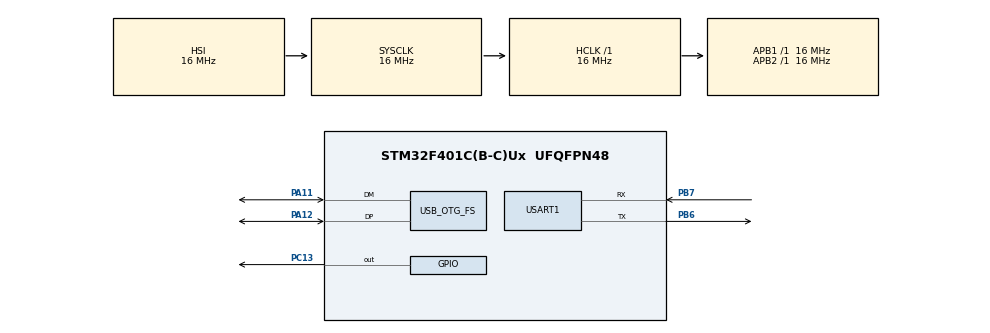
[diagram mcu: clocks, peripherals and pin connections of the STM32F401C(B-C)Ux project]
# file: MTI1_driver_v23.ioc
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Mcu.Family=STM32F4
Mcu.Name=STM32F401C(B-C)Ux
Mcu.Package=UFQFPN48
NVIC.OTG_FS_IRQn=true\:0\:0\:false\:false\:true\:false\:true\:true
NVIC.PriorityGroup=NVIC_PRIORITYGROUP_4
NVIC.USART1_IRQn=true\:0\:0\:false\:false\:true\:true\:true\:true
PA11.Mode=Device_Only
PA11.Signal=USB_OTG_FS_DM
PA12.Mode=Device_Only
PA12.Signal=USB_OTG_FS_DP
PB6.Mode=Asynchronous
PB6.Signal=USART1_TX
PB7.Mode=Asynchronous
PB7.Signal=USART1_RX
PC13-ANTI_TAMP.Signal=GPIO_Output
PH0\ -\ OSC_IN.Mode=HSE-External-Oscillator
PH0\ -\ OSC_IN.Signal=RCC_OSC_IN
PH1\ -\ OSC_OUT.Mode=HSE-External-Oscillator
PH1\ -\ OSC_OUT.Signal=RCC_OSC_OUT
ProjectManager.HeapSize=0x200
ProjectManager.StackSize=0x400
ProjectManager.TargetToolchain=STM32CubeIDE
RCC.48MHZClocksFreq_Value=48000000
RCC.AHBFreq_Value=16000000
RCC.APB1Freq_Value=16000000
RCC.APB2Freq_Value=16000000
RCC.CortexFreq_Value=16000000
RCC.HSE_VALUE=25000000
RCC.HSI_VALUE=16000000
RCC.LSE_VALUE=32768
RCC.PLLM=15
RCC.PLLN=144
RCC.PLLQ=5
RCC.SYSCLKFreq_VALUE=16000000
RCC.VCOOutputFreq_Value=240000000
USART1.VirtualMode=VM_ASYNC
USB_DEVICE.CLASS_NAME_FS=CDC
USB_DEVICE.VirtualMode=Cdc
USB_DEVICE.VirtualModeFS=Cdc_FS
USB_OTG_FS.VirtualMode=Device_Only
VP_USB_DEVICE_VS_USB_DEVICE_CDC_FS.Mode=CDC_FS
board=custom

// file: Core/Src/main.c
/* USER CODE BEGIN Header */
/**
  ******************************************************************************
  * @file           : main.c
  * @brief          : Leitura do MTi-1 (ACC, GYR e Euler Angles)
  * Author          : juandg
  ******************************************************************************
  */
/* USER CODE END Header */

#include "main.h"
#include "usb_device.h"

/* USER CODE BEGIN Includes */
#include "usbd_cdc_if.h"
#include <stdio.h>
#include <string.h>
/* USER CODE END Includes */

/* USER CODE BEGIN PTD */
typedef struct {
    float acc_x, acc_y, acc_z;
    float gyr_x, gyr_y, gyr_z;
    float roll, pitch, yaw;
} MTi1_Data_t;
/* USER CODE END PTD */

UART_HandleTypeDef huart1;

/* USER CODE BEGIN PV */
#define RX_RING_SIZE 2048
volatile uint8_t rx_ring[RX_RING_SIZE];
volatile uint16_t rx_head = 0;
volatile uint16_t rx_tail = 0;
uint8_t rx_byte;

char msg_usb[300];
MTi1_Data_t imu_data;
int test_flag = 0;
uint32_t last_led_tick = 0;
/* USER CODE END PV */

void SystemClock_Config(void);
static void MX_GPIO_Init(void);
static void MX_USART1_UART_Init(void);

/* USER CODE BEGIN PFP */
float bytes_to_float_be(const uint8_t *buffer);
uint8_t xsens_validate_checksum(const uint8_t *msg, uint16_t length);
uint8_t calculate_xbus_checksum(const uint8_t *buffer, uint16_t length);
static void parse_mtdata2(const uint8_t *packet, uint16_t packet_len);
void configure_mti1_outputs(void);
void process_rx_ring(void);
/* USER CODE END PFP */

/* USER CODE BEGIN 0 */

// Converte 4 bytes Big-Endian para float Little-Endian
float bytes_to_float_be(const uint8_t *buffer) {
    uint32_t b = ((uint32_t)buffer[0] << 24) |
                 ((uint32_t)buffer[1] << 16) |
                 ((uint32_t)buffer[2] << 8)  |
                  (uint32_t)buffer[3];
    float f;
    memcpy(&f, &b, sizeof(float));
    return f;
}

// Valida Checksum Xbus
uint8_t xsens_validate_checksum(const uint8_t *msg, uint16_t length) {
    uint8_t sum = 0;
    for (uint16_t i = 1; i < length; i++) {
        sum += msg[i];
    }
    return (sum == 0);
}

uint8_t calculate_xbus_checksum(const uint8_t *buffer, uint16_t length) {
    uint8_t sum = 0;
    for (uint16_t i = 1; i < (length - 1); i++) {
        sum += buffer[i];
    }
    return (uint8_t)(0x100 - sum);
}

static void parse_mtdata2(const uint8_t *packet, uint16_t packet_len) {
    if (packet_len < 5) return;
    if (packet[0] != 0xFA || packet[2] != 0x36) return;

    // ¡NUEVO! Validar el checksum antes de confiar en los datos
    if (!xsens_validate_checksum(packet, packet_len)) {
        return; // Si el checksum falla, descartamos el paquete corrupto inmediatamente
    }

    uint8_t payload_len = packet[3];
    uint16_t idx = 4;

    while (idx < (4 + payload_len) && (idx + 3) <= packet_len) {
        uint16_t xdi = (packet[idx] << 8) | packet[idx + 1];
        uint8_t data_size = packet[idx + 2];
        const uint8_t *data_ptr = &packet[idx + 3];

        if ((idx + 3 + data_size) > packet_len) break;

        if ((xdi & 0xFFF0) == 0x4020) { // ACC
            imu_data.acc_x = bytes_to_float_be(&data_ptr[0]);
            imu_data.acc_y = bytes_to_float_be(&data_ptr[4]);
            imu_data.acc_z = bytes_to_float_be(&data_ptr[8]);
        }
        else if ((xdi & 0xFFF0) == 0x8020) { // GYR
            imu_data.gyr_x = bytes_to_float_be(&data_ptr[0]);
            imu_data.gyr_y = bytes_to_float_be(&data_ptr[4]);
            imu_data.gyr_z = bytes_to_float_be(&data_ptr[8]);
        }
        else if ((xdi & 0xFFF0) == 0x2030) { // EULER
            imu_data.roll  = bytes_to_float_be(&data_ptr[0]);
            imu_data.pitch = bytes_to_float_be(&data_ptr[4]);
            imu_data.yaw   = bytes_to_float_be(&data_ptr[8]);
            //imu_data.test_flag = 1;
        }

        idx += 3 + data_size;
    }
}

// Processa o Ring Buffer identificando início de pacote (0xFA)
void process_rx_ring(void) {
    // Enquanto houver bytes suficientes para formar um pacote mínimo Xbus (5 bytes)
    while (rx_head != rx_tail) {
        // 1. Procura o Preamble 0xFA
        if (rx_ring[rx_tail] != 0xFA) {
            rx_tail = (rx_tail + 1) % RX_RING_SIZE;
            continue;
        }

        // 2. Calcula quantos bytes temos disponíveis no Ring Buffer
        uint16_t available = (rx_head >= rx_tail) ? (rx_head - rx_tail) : (RX_RING_SIZE - rx_tail + rx_head);
        if (available < 5) break; // Espera chegar o cabeçalho completo

        // 3. Lê o tamanho do Payload (byte na posição rx_tail + 3)
        uint16_t len_idx = (rx_tail + 3) % RX_RING_SIZE;
        uint8_t payload_len = rx_ring[len_idx];
        uint16_t total_len = 5 + payload_len; // Preamble(1) + BusID(1) + MID(1) + Len(1) + Payload + CS(1)

        // Se o pacote for maior que o buffer auxiliar, avança 1 byte para não travar
        if (total_len > 256) {
            rx_tail = (rx_tail + 1) % RX_RING_SIZE;
            continue;
        }

        // Aguarda todos os bytes do pacote chegarem
        if (available < total_len) break;

        // 4. Copia o pacote completo para um buffer temporário
        uint8_t packet_buf[256];
        for (uint16_t i = 0; i < total_len; i++) {
            packet_buf[i] = rx_ring[(rx_tail + i) % RX_RING_SIZE];
        }

        // 5. Processa o pacote se for uma mensagem de dados MTData2 (MID = 0x36)
        if (packet_buf[2] == 0x36) {
            parse_mtdata2(packet_buf, total_len);
        }

        // 6. Descarta o pacote processado do Ring Buffer
        rx_tail = (rx_tail + total_len) % RX_RING_SIZE;
    }
}

// Configura saídas do MTi-1
void configure_mti1_outputs(void) {
    uint8_t goto_config[] = {0xFA, 0xFF, 0x30, 0x00, 0x00};
    goto_config[4] = calculate_xbus_checksum(goto_config, sizeof(goto_config));
    HAL_UART_Transmit(&huart1, goto_config, sizeof(goto_config), 200);
    HAL_Delay(100);

    uint8_t set_output_config[] = {
        0xFA, 0xFF, 0xC0, 0x0C,       // Header
        0x40, 0x20, 0x00, 0x64,       // ACC @ 100Hz
        0x80, 0x20, 0x00, 0x64,       // GYR @ 100Hz
        0x20, 0x30, 0x00, 0x64,       // Euler @ 100Hz
        0x00                          // Checksum
    };
    set_output_config[sizeof(set_output_config) - 1] = calculate_xbus_checksum(set_output_config, sizeof(set_output_config));

    HAL_UART_Transmit(&huart1, set_output_config, sizeof(set_output_config), 200);
    HAL_Delay(100);

    uint8_t goto_measurement[] = {0xFA, 0xFF, 0x10, 0x00, 0x00};
    goto_measurement[4] = calculate_xbus_checksum(goto_measurement, sizeof(goto_measurement));
    HAL_UART_Transmit(&huart1, goto_measurement, sizeof(goto_measurement), 200);
    HAL_Delay(100);
}

// Interrupção da UART
void HAL_UART_RxCpltCallback(UART_HandleTypeDef *huart) {
    if (huart->Instance == USART1) {
        uint16_t next = (rx_head + 1) % RX_RING_SIZE;
        if (next != rx_tail) {
            rx_ring[rx_head] = rx_byte;
            rx_head = next;
        }
        HAL_UART_Receive_IT(&huart1, &rx_byte, 1);
    }
}

void HAL_UART_ErrorCallback(UART_HandleTypeDef *huart) {
    if (huart->Instance == USART1) {
        // Limpa os registradores de erro da UART
        __HAL_UART_CLEAR_PEFLAG(huart);
        __HAL_UART_CLEAR_FEFLAG(huart);
        __HAL_UART_CLEAR_NEFLAG(huart);
        __HAL_UART_CLEAR_OREFLAG(huart);

        // Reinicia a recepção por interrupção
        HAL_UART_Receive_IT(&huart1, &rx_byte, 1);
    }
}
/* USER CODE END 0 */

int main(void)
{
  HAL_Init();
  SystemClock_Config();

  MX_GPIO_Init();
  MX_USB_DEVICE_Init();
  MX_USART1_UART_Init();

  /* USER CODE BEGIN 2 */
  HAL_UART_Receive_IT(&huart1, &rx_byte, 1);
  HAL_Delay(200);

  configure_mti1_outputs();

  uint32_t last_loop_tick = 0;
  float current_freq = 0.0f;
  /* USER CODE END 2 */

  /* Infinite loop */
  while (1)
  {

    /* USER CODE BEGIN 3 */

    //Processa dados da UART sem bloquear
    process_rx_ring();

    //Transmissão USB controlada (a cada 20ms = 50 Hz)
    static uint32_t last_usb_tick = 0;
		if (HAL_GetTick() - last_usb_tick >= 10) {

			uint32_t now = HAL_GetTick();
			uint32_t dt = now - last_loop_tick;
			last_loop_tick = now;

			// Cálculo de la frecuencia real del bucle en Hz
			if (dt > 0) {
				current_freq = 1000.0f / (float) dt;
			}
			last_usb_tick = HAL_GetTick();

			int pos =
					sprintf(msg_usb,
							"ACC: [%.4f, %.4f, %.4f] | GYR: [%.4f, %.4f, %.4f] | EULER: [R: %.4f, P: %.4f, Y: %.4f] | test_flag: %.2f\r\n",
							imu_data.acc_x, imu_data.acc_y, imu_data.acc_z,
							imu_data.gyr_x, imu_data.gyr_y, imu_data.gyr_z,
							imu_data.roll, imu_data.pitch, imu_data.yaw,
							current_freq);

			CDC_Transmit_FS((uint8_t*) msg_usb, pos);
		}

    // Rotina piscar LED (Blink a cada 200ms)
    if (HAL_GetTick() - last_led_tick >= 200) {
        last_led_tick = HAL_GetTick();
        HAL_GPIO_TogglePin(GPIOC, GPIO_PIN_13);
    }
  }
  /* USER CODE END 3 */
}

void SystemClock_Config(void)
{
  RCC_OscInitTypeDef RCC_OscInitStruct = {0};
  RCC_ClkInitTypeDef RCC_ClkInitStruct = {0};

  /** Configure the main internal regulator output voltage
  */
  __HAL_RCC_PWR_CLK_ENABLE();
  __HAL_PWR_VOLTAGESCALING_CONFIG(PWR_REGULATOR_VOLTAGE_SCALE2);

  /** Initializes the RCC Oscillators according to the specified parameters
  * in the RCC_OscInitTypeDef structure.
  */
  RCC_OscInitStruct.OscillatorType = RCC_OSCILLATORTYPE_HSI|RCC_OSCILLATORTYPE_HSE;
  RCC_OscInitStruct.HSEState = RCC_HSE_ON;
  RCC_OscInitStruct.HSIState = RCC_HSI_ON;
  RCC_OscInitStruct.HSICalibrationValue = RCC_HSICALIBRATION_DEFAULT;
  RCC_OscInitStruct.PLL.PLLState = RCC_PLL_ON;
  RCC_OscInitStruct.PLL.PLLSource = RCC_PLLSOURCE_HSE;
  RCC_OscInitStruct.PLL.PLLM = 15;
  RCC_OscInitStruct.PLL.PLLN = 144;
  RCC_OscInitStruct.PLL.PLLP = RCC_PLLP_DIV2;
  RCC_OscInitStruct.PLL.PLLQ = 5;
  if (HAL_RCC_OscConfig(&RCC_OscInitStruct) != HAL_OK)
  {
    Error_Handler();
  }

  /** Initializes the CPU, AHB and APB buses clocks
  */
  RCC_ClkInitStruct.ClockType = RCC_CLOCKTYPE_HCLK|RCC_CLOCKTYPE_SYSCLK
                              |RCC_CLOCKTYPE_PCLK1|RCC_CLOCKTYPE_PCLK2;
  RCC_ClkInitStruct.SYSCLKSource = RCC_SYSCLKSOURCE_HSI;
  RCC_ClkInitStruct.AHBCLKDivider = RCC_SYSCLK_DIV1;
  RCC_ClkInitStruct.APB1CLKDivider = RCC_HCLK_DIV1;
  RCC_ClkInitStruct.APB2CLKDivider = RCC_HCLK_DIV1;

  if (HAL_RCC_ClockConfig(&RCC_ClkInitStruct, FLASH_LATENCY_0) != HAL_OK)
  {
    Error_Handler();
  }
}

static void MX_USART1_UART_Init(void)
{

  huart1.Instance = USART1;
  huart1.Init.BaudRate = 115200;
  huart1.Init.WordLength = UART_WORDLENGTH_8B;
  huart1.Init.StopBits = UART_STOPBITS_1;
  huart1.Init.Parity = UART_PARITY_NONE;
  huart1.Init.Mode = UART_MODE_TX_RX;
  huart1.Init.HwFlowCtl = UART_HWCONTROL_NONE;
  huart1.Init.OverSampling = UART_OVERSAMPLING_16;
  if (HAL_UART_Init(&huart1) != HAL_OK)
  {
    Error_Handler();
  }

}

static void MX_GPIO_Init(void)
{
  GPIO_InitTypeDef GPIO_InitStruct = {0};

  /* GPIO Ports Clock Enable */
  __HAL_RCC_GPIOC_CLK_ENABLE();
  __HAL_RCC_GPIOH_CLK_ENABLE();
  __HAL_RCC_GPIOA_CLK_ENABLE();
  __HAL_RCC_GPIOB_CLK_ENABLE();

  /*Configure GPIO pin Output Level */
  HAL_GPIO_WritePin(GPIOC, GPIO_PIN_13, GPIO_PIN_RESET);

  /*Configure GPIO pin : PC13 */
  GPIO_InitStruct.Pin = GPIO_PIN_13;
  GPIO_InitStruct.Mode = GPIO_MODE_OUTPUT_PP;
  GPIO_InitStruct.Pull = GPIO_NOPULL;
  GPIO_InitStruct.Speed = GPIO_SPEED_FREQ_LOW;
  HAL_GPIO_Init(GPIOC, &GPIO_InitStruct);

}

void Error_Handler(void)
{
  __disable_irq();
  while (1)
  {
  }
}
